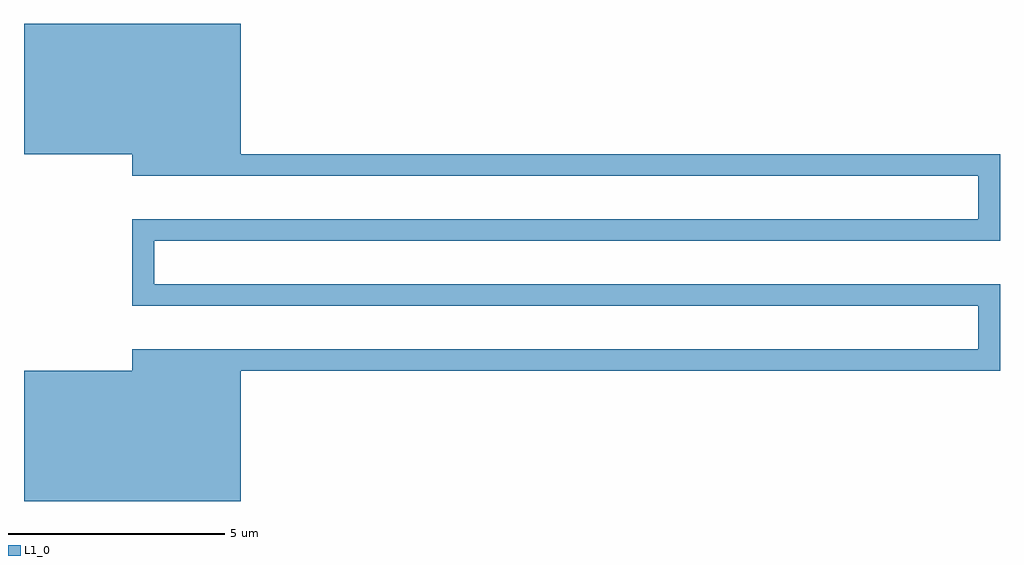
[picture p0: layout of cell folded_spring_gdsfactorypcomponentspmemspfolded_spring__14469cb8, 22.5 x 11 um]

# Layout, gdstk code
import gdstk
lib = gdstk.Library(unit=1e-6, precision=1e-09)
def R(c, l, rs):  # rectangles x0, y0, x1, y1
    for r in rs: c.add(gdstk.rectangle(r[:2], r[2:], *l))
def A(c, l, x, y, w, h, nx, ny, dx, dy):  # array of equal rectangles
    R(c, l, [(x+i*dx, y+j*dy, x+i*dx+w, y+j*dy+h) for i in range(nx) for j in range(ny)])
L1_0 = (1, 0)

folded_spring_gdsfactory = lib.new_cell('folded_spring_gdsfactorypcomponentspmemspfolded_spring__14469cb8')
A(folded_spring_gdsfactory, L1_0, 0, 0, 20, 0.5, 1, 4, 0, 1.5)
R(folded_spring_gdsfactory, L1_0, [(-2.5,-3,2.5,0), (19.5,0.5,20,1.5), (0,2,0.5,3), (19.5,3.5,20,4.5), (-2.5,5,2.5,8)])

lib.write_gds('folded_spring_gdsfactorypcomponentspmemspfolded_spring__14469cb8.gds')
